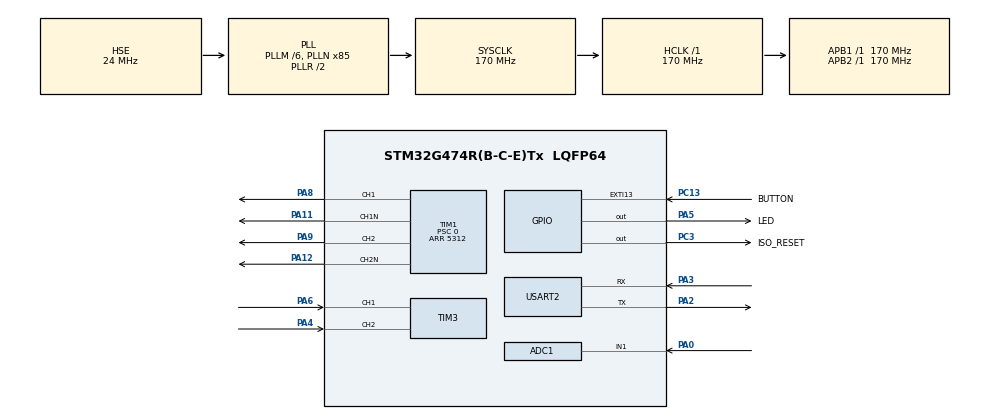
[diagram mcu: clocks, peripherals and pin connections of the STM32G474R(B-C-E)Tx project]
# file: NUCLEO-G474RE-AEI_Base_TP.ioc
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ADC1.Channel-0\#ChannelRegularConversion=ADC_CHANNEL_1
ADC1.ContinuousConvMode=DISABLE
ADC1.DMAContinuousRequests=ENABLE
ADC1.ExternalTrigConv=ADC_EXTERNALTRIG_T2_TRGO
ADC1.NbrOfConversionFlag=1
ADC1.OffsetNumber-0\#ChannelRegularConversion=ADC_OFFSET_NONE
ADC1.Rank-0\#ChannelRegularConversion=1
ADC1.SamplingTime-0\#ChannelRegularConversion=ADC_SAMPLETIME_2CYCLES_5
ADC1.master=1
Dma.ADC1.0.Direction=DMA_PERIPH_TO_MEMORY
Dma.ADC1.0.EventEnable=DISABLE
Dma.ADC1.0.Instance=DMA1_Channel1
Dma.ADC1.0.MemDataAlignment=DMA_MDATAALIGN_HALFWORD
Dma.ADC1.0.MemInc=DMA_MINC_ENABLE
Dma.ADC1.0.Mode=DMA_CIRCULAR
Dma.ADC1.0.PeriphDataAlignment=DMA_PDATAALIGN_HALFWORD
Dma.ADC1.0.PeriphInc=DMA_PINC_DISABLE
Dma.ADC1.0.Polarity=HAL_DMAMUX_REQ_GEN_RISING
Dma.ADC1.0.Priority=DMA_PRIORITY_LOW
Dma.ADC1.0.RequestNumber=1
Dma.ADC1.0.SignalID=NONE
Dma.ADC1.0.SyncEnable=DISABLE
Dma.ADC1.0.SyncPolarity=HAL_DMAMUX_SYNC_NO_EVENT
Dma.ADC1.0.SyncRequestNumber=1
Dma.ADC1.0.SyncSignalID=NONE
Dma.Request0=ADC1
Mcu.Family=STM32G4
Mcu.Name=STM32G474R(B-C-E)Tx
Mcu.Package=LQFP64
NVIC.ADC1_2_IRQn=true\:0\:0\:false\:false\:true\:true\:true\:true
NVIC.DMA1_Channel1_IRQn=true\:0\:0\:false\:false\:true\:false\:true\:true
NVIC.EXTI15_10_IRQn=true\:0\:0\:false\:false\:true\:true\:true\:true
NVIC.PriorityGroup=NVIC_PRIORITYGROUP_4
NVIC.TIM1_CC_IRQn=true\:0\:0\:false\:false\:true\:true\:true\:true
NVIC.TIM5_IRQn=true\:0\:0\:false\:false\:true\:true\:true\:true
NVIC.TIM6_DAC_IRQn=true\:15\:0\:false\:false\:true\:false\:true\:true
NVIC.TimeBase=TIM6_DAC_IRQn
NVIC.TimeBaseIP=TIM6
NVIC.USART2_IRQn=true\:0\:0\:false\:false\:true\:true\:true\:true
PA0.Mode=IN1-Single-Ended
PA0.Signal=ADC1_IN1
PA11.Mode=PWM Generation1 CH1 CH1N
PA11.Signal=TIM1_CH1N
PA12.Mode=PWM Generation2 CH2 CH2N
PA12.Signal=TIM1_CH2N
PA13.GPIO_Label=T_SWDIO
PA13.Mode=Serial_Wire
PA13.Signal=SYS_JTMS-SWDIO
PA14.GPIO_Label=T_SWCLK
PA14.Mode=Serial_Wire
PA14.Signal=SYS_JTCK-SWCLK
PA2.Mode=Asynchronous
PA2.Signal=USART2_TX
PA3.Mode=Asynchronous
PA3.Signal=USART2_RX
PA4.Signal=S_TIM3_CH2
PA5.GPIO_Label=LED
PA5.Signal=GPIO_Output
PA6.Signal=S_TIM3_CH1
PA8.Signal=S_TIM1_CH1
PA9.Signal=S_TIM1_CH2
PC13.GPIO_Label=BUTTON
PC13.Signal=GPXTI13
PC14-OSC32_IN.Mode=LSE-External-Oscillator
PC14-OSC32_IN.Signal=RCC_OSC32_IN
PC15-OSC32_OUT.Mode=LSE-External-Oscillator
PC15-OSC32_OUT.Signal=RCC_OSC32_OUT
PC3.GPIO_Label=ISO_RESET
PC3.Signal=GPIO_Output
PF0-OSC_IN.Mode=HSE-External-Oscillator
PF0-OSC_IN.Signal=RCC_OSC_IN
PF1-OSC_OUT.Mode=HSE-External-Oscillator
PF1-OSC_OUT.Signal=RCC_OSC_OUT
ProjectManager.HeapSize=0x200
ProjectManager.StackSize=0x400
ProjectManager.TargetToolchain=STM32CubeIDE
RCC.ADC12Freq_Value=170000000
RCC.ADC345Freq_Value=170000000
RCC.AHBFreq_Value=170000000
RCC.APB1Freq_Value=170000000
RCC.APB1TimFreq_Value=170000000
RCC.APB2Freq_Value=170000000
RCC.APB2TimFreq_Value=170000000
RCC.CortexFreq_Value=170000000
RCC.EXTERNAL_CLOCK_VALUE=12288000
RCC.HCLKFreq_Value=170000000
RCC.HSE_VALUE=24000000
RCC.HSI48_VALUE=48000000
RCC.HSI_VALUE=16000000
RCC.PLLM=RCC_PLLM_DIV6
RCC.PLLN=85
RCC.PLLSourceVirtual=RCC_PLLSOURCE_HSE
RCC.RTCClockSelection=RCC_RTCCLKSOURCE_LSE
RCC.SYSCLKFreq_VALUE=170000000
RCC.SYSCLKSource=RCC_SYSCLKSOURCE_PLLCLK
RCC.USBFreq_Value=170000000
RCC.VCOOutputFreq_Value=340000000
SH.S_TIM1_CH1.0=TIM1_CH1,PWM Generation1 CH1 CH1N
SH.S_TIM1_CH2.0=TIM1_CH2,PWM Generation2 CH2 CH2N
SH.S_TIM3_CH1.0=TIM3_CH1,Encoder_Interface
SH.S_TIM3_CH2.0=TIM3_CH2,Encoder_Interface
TIM1.AutoReloadPreload=TIM_AUTORELOAD_PRELOAD_ENABLE
TIM1.Channel-PWM\ Generation1\ CH1\ CH1N=TIM_CHANNEL_1
TIM1.Channel-PWM\ Generation2\ CH2\ CH2N=TIM_CHANNEL_2
TIM1.CounterMode=TIM_COUNTERMODE_CENTERALIGNED1
TIM1.DeadTime=205
TIM1.OC1Preload_PWM=DISABLE
TIM1.PeriodNoDither=5312
TIM1.Prescaler=0
TIM1.PulseNoDither_1=2656
TIM1.PulseNoDither_2=2656
TIM1.TIM_MasterOutputTrigger=TIM_TRGO_RESET
TIM2.PeriodNoDither=1062
TIM2.TIM_MasterOutputTrigger=TIM_TRGO_UPDATE
TIM3.CounterMode=TIM_COUNTERMODE_UP
TIM3.EncoderMode=TIM_ENCODERMODE_TI12
TIM5.PeriodNoDither=16999999
USART2.VirtualMode-Asynchronous=VM_ASYNC
VP_SYS_VS_DBSignals.Mode=DisableDeadBatterySignals
VP_SYS_VS_tim6.Mode=TIM6
VP_TIM1_VS_ClockSourceINT.Mode=Internal
VP_TIM2_VS_ClockSourceINT.Mode=Internal
VP_TIM5_VS_ClockSourceINT.Mode=Internal
board=NUCLEO-G474RE

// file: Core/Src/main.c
/* USER CODE BEGIN Header */
/**
 ******************************************************************************
 * @file           : main.c
 * @brief          : Main program body
 ******************************************************************************
 * @attention
 *
 * Copyright (c) 2022 STMicroelectronics.
 * All rights reserved.
 *
 * This software is licensed under terms that can be found in the LICENSE file
 * in the root directory of this software component.
 * If no LICENSE file comes with this software, it is provided AS-IS.
 *
 ******************************************************************************
 */
/* USER CODE END Header */
#include "main.h"
#include "adc.h"
#include "dma.h"
#include "tim.h"
#include "usart.h"
#include "gpio.h"

/* USER CODE BEGIN Includes */
#include <stdio.h>
#include <stdlib.h>
#include <string.h>
#include "shell.h"
#include "motor.h"

/* USER CODE END Includes */

/* USER CODE BEGIN PV */

/*char cmd[CMD_BUFFER_SIZE]; // contenant la commande en cours
int idxCmd;// contenant l'index du prochain caractère à remplir
const uint8_t prompt[] ;// contenant le prompt comme sur un shell linux
const uint8_t started[];// contenant un message de bienvenue au démarrage du microprocesseur
const uint8_t newLine[] ;// contenant la chaine de caractère pour faire un retour à la ligne
const uint8_t help[] ;// contenant le message d'aide, la liste des fonctions
const uint8_t pinout[] ;// contenant la liste des pin utilisées
const uint8_t powerOn[] ;// contenant le message d'allumage du moteur
const uint8_t powerOff[] ;// contenant le message d'extinction du moteur
const uint8_t cmdNotFound[] ;// contenant le message du commande non reconnue
*/

extern uint8_t uartRxReceived;//: flag de récéption d'un caractère sur la liaison uart
extern uint8_t uartRxBuffer[UART_RX_BUFFER_SIZE];// : buffer de réception de donnée de l'uart
extern uint8_t uartTxBuffer[UART_TX_BUFFER_SIZE];// : buffer d'émission des données de l'uart
float amperage;
uint16_t codeurValue;
uint16_t Speed;
int16_t adc_values[10];

/* USER CODE END PV */

void SystemClock_Config(void);

int main(void)
{

  /* MCU Configuration--------------------------------------------------------*/

  /* Reset of all peripherals, Initializes the Flash interface and the Systick. */
  HAL_Init();

  /* Configure the system clock */
  SystemClock_Config();

  /* Initialize all configured peripherals */
  MX_GPIO_Init();
  MX_DMA_Init();
  MX_TIM1_Init();
  MX_USART2_UART_Init();
  MX_ADC1_Init();
  MX_TIM2_Init();
  MX_TIM3_Init();
  MX_TIM5_Init();
  /* USER CODE BEGIN 2 */
	HAL_UART_Receive_IT(&huart2, uartRxBuffer, UART_RX_BUFFER_SIZE);

	shellInit();
	HAL_TIM_PWM_Start(&htim1, TIM_CHANNEL_1);
	HAL_TIM_PWM_Start(&htim1, TIM_CHANNEL_2);
	HAL_TIMEx_PWMN_Start(&htim1, TIM_CHANNEL_1);
	HAL_TIMEx_PWMN_Start(&htim1, TIM_CHANNEL_2);

	//HAL_ADC_Init(&hadc);
	//HAL_DMA_Init(&hdma);
	HAL_ADC_Start_DMA(&hadc1, adc_values, 10);
	HAL_Delay(1);
	HAL_TIM_Base_Start(&htim2);

	HAL_TIM_Encoder_Start(&htim3, TIM_CHANNEL_ALL);
	TIM3->CNT = TIM3->ARR/2;
	HAL_TIM_Base_Start_IT(&htim5);

	//HAL_TIMEx_PWMN_Start(&htim1, TIM_CHANNEL_N_STATE_GET(&htim1,TIM_CHANNEL_1));
	//HAL_TIMEx_PWMN_Start(&htim1, TIM_CHANNEL_N_STATE_GET(&htim1,TIM_CHANNEL_2));
	//HAL_TIMEx_PWMN_Start(&htim1, TIM_CHANNEL_N);
	//HAL_TIMEx_PWMN_Start(&htim1, TIM_Cha);
  /* USER CODE END 2 */

  /* Infinite loop */
  /* USER CODE BEGIN WHILE */
	while (1)
	{
		// SuperLoop inside the while(1), only flag changed from interrupt could launch functions
		if(uartRxReceived){
			if(shellGetChar()){
				shellExec();
				shellPrompt();
			}
			uartRxReceived = 0;
		}
    /* USER CODE END WHILE */

	}
}

void SystemClock_Config(void)
{
  RCC_OscInitTypeDef RCC_OscInitStruct = {0};
  RCC_ClkInitTypeDef RCC_ClkInitStruct = {0};

  /** Configure the main internal regulator output voltage
  */
  HAL_PWREx_ControlVoltageScaling(PWR_REGULATOR_VOLTAGE_SCALE1_BOOST);

  /** Initializes the RCC Oscillators according to the specified parameters
  * in the RCC_OscInitTypeDef structure.
  */
  RCC_OscInitStruct.OscillatorType = RCC_OSCILLATORTYPE_HSE;
  RCC_OscInitStruct.HSEState = RCC_HSE_ON;
  RCC_OscInitStruct.PLL.PLLState = RCC_PLL_ON;
  RCC_OscInitStruct.PLL.PLLSource = RCC_PLLSOURCE_HSE;
  RCC_OscInitStruct.PLL.PLLM = RCC_PLLM_DIV6;
  RCC_OscInitStruct.PLL.PLLN = 85;
  RCC_OscInitStruct.PLL.PLLP = RCC_PLLP_DIV2;
  RCC_OscInitStruct.PLL.PLLQ = RCC_PLLQ_DIV2;
  RCC_OscInitStruct.PLL.PLLR = RCC_PLLR_DIV2;
  if (HAL_RCC_OscConfig(&RCC_OscInitStruct) != HAL_OK)
  {
    Error_Handler();
  }

  /** Initializes the CPU, AHB and APB buses clocks
  */
  RCC_ClkInitStruct.ClockType = RCC_CLOCKTYPE_HCLK|RCC_CLOCKTYPE_SYSCLK
                              |RCC_CLOCKTYPE_PCLK1|RCC_CLOCKTYPE_PCLK2;
  RCC_ClkInitStruct.SYSCLKSource = RCC_SYSCLKSOURCE_PLLCLK;
  RCC_ClkInitStruct.AHBCLKDivider = RCC_SYSCLK_DIV1;
  RCC_ClkInitStruct.APB1CLKDivider = RCC_HCLK_DIV1;
  RCC_ClkInitStruct.APB2CLKDivider = RCC_HCLK_DIV1;

  if (HAL_RCC_ClockConfig(&RCC_ClkInitStruct, FLASH_LATENCY_4) != HAL_OK)
  {
    Error_Handler();
  }
}

void HAL_TIM_PeriodElapsedCallback(TIM_HandleTypeDef *htim)
{
  if (htim->Instance == TIM6) {
    HAL_IncTick();
  }
  /* USER CODE BEGIN Callback 1 */
  else if (htim->Instance == TIM5){
  		codeurValue= TIM3->CNT;
  		TIM3->CNT = TIM3->ARR/2;}
  /* USER CODE END Callback 1 */
}

void Error_Handler(void)
{
	__disable_irq();
	while (1)
	{
	}
}
